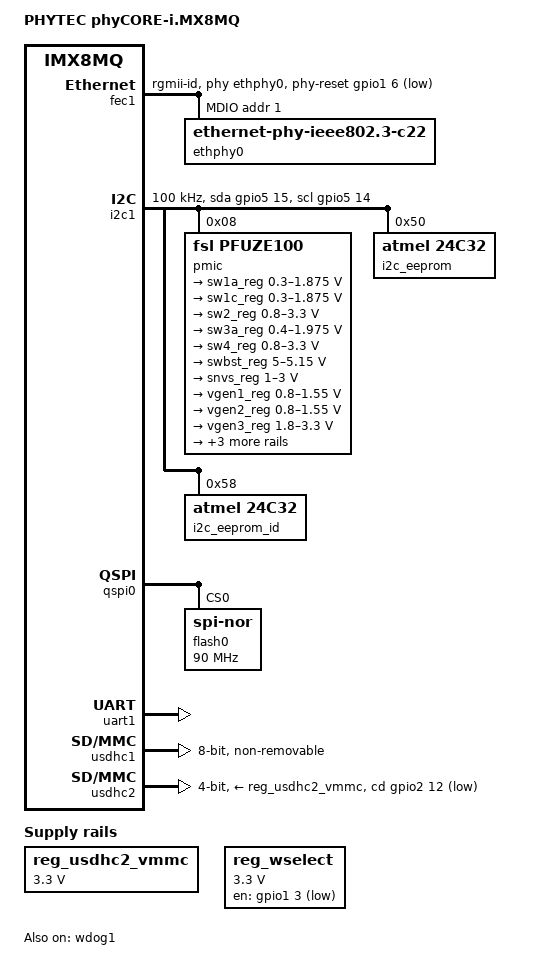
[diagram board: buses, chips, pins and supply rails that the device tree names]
// SPDX-License-Identifier: GPL-2.0-or-later
/*
 * Copyright (C) 2018-2020 PHYTEC Messtechnik GmbH
 * Author: Janine Hagemann <j.hagemann@phytec.de>
 */

/dts-v1/;

#include <dt-bindings/net/ti-dp83867.h>
#include "imx8mq.dtsi"

/ {
	model = "PHYTEC phyCORE-i.MX8MQ";
	compatible = "phytec,phycore-imx8mq", "fsl,imx8mq";

	aliases {
		eeprom0 = &i2c_eeprom_id;
	};

	chosen {
		bootargs = "console=ttymxc0,115200";
		stdout-path = &uart1;
	};

	reg_usdhc2_vmmc: regulator-usdhc2 {
		compatible = "regulator-fixed";
		regulator-name = "VSD_3V3";
		regulator-min-microvolt = <3300000>;
		regulator-max-microvolt = <3300000>;
	};

	reg_wselect: w_select {
		compatible = "regulator-fixed";
		regulator-name = "w_select";
		regulator-min-microvolt = <3300000>;
		regulator-max-microvolt = <3300000>;
		pinctrl-names = "default";
		pinctrl-0  = <&pinctrl_regwselect>;
		gpio = <&gpio1 3 GPIO_ACTIVE_LOW>;
		regulator-always-on;
	};
};

/* ethernet */
&fec1 {
	pinctrl-names = "default";
	pinctrl-0 = <&pinctrl_fec1>;
	phy-mode = "rgmii-id";
	phy-handle = <&ethphy0>;
	phy-reset-gpios = <&gpio1 6 GPIO_ACTIVE_HIGH>;
	phy-reset-duration = <1>;
	phy-reset-post-delay = <1>;
	status = "okay";

	mdio {
		#address-cells = <1>;
		#size-cells = <0>;

		ethphy0: ethernet-phy@1 {
			compatible = "ethernet-phy-ieee802.3-c22";
			reg = <1>;
			ti,rx-internal-delay = <DP83867_RGMIIDCTL_2_00_NS>;
			ti,tx-internal-delay = <DP83867_RGMIIDCTL_2_00_NS>;
			ti,fifo-depth = <DP83867_PHYCR_FIFO_DEPTH_4_B_NIB>;
			ti,clk-output-sel = <DP83867_CLK_O_SEL_OFF>;
			enet-phy-lane-no-swap;
		};
	};
};

&i2c1 {
	clock-frequency = <100000>;
	pinctrl-names = "default", "gpio";
	pinctrl-0 = <&pinctrl_i2c1>;
	pinctrl-1 = <&pinctrl_i2c1_gpio>;
	scl-gpios = <&gpio5 14 GPIO_ACTIVE_HIGH>;
	sda-gpios = <&gpio5 15 GPIO_ACTIVE_HIGH>;
	status = "okay";

	pmic: pmic@08 {
		compatible = "fsl,pfuze100";
		fsl,pfuze-support-disable-sw;
		reg = <0x08>;

		regulators {
			sw1a_reg: sw1ab {
				regulator-min-microvolt = <300000>;
				regulator-max-microvolt = <1875000>;
				regulator-always-on;
			};

			sw1c_reg: sw1c {
				regulator-min-microvolt = <300000>;
				regulator-max-microvolt = <1875000>;
				regulator-always-on;
			};

			sw2_reg: sw2 {
				regulator-min-microvolt = <800000>;
				regulator-max-microvolt = <3300000>;
				regulator-always-on;
			};

			sw3a_reg: sw3ab {
				regulator-min-microvolt = <400000>;
				regulator-max-microvolt = <1975000>;
				regulator-always-on;
			};

			sw4_reg: sw4 {
				regulator-min-microvolt = <800000>;
				regulator-max-microvolt = <3300000>;
				regulator-always-on;
			};

			swbst_reg: swbst {
				regulator-min-microvolt = <5000000>;
				regulator-max-microvolt = <5150000>;
			};

			snvs_reg: vsnvs {
				regulator-min-microvolt = <1000000>;
				regulator-max-microvolt = <3000000>;
				regulator-always-on;
			};

			vref_reg: vrefddr {
				regulator-always-on;
			};

			vgen1_reg: vgen1 {
				regulator-min-microvolt = <800000>;
				regulator-max-microvolt = <1550000>;
			};

			vgen2_reg: vgen2 {
				regulator-min-microvolt = <800000>;
				regulator-max-microvolt = <1550000>;
				regulator-always-on;
			};

			vgen3_reg: vgen3 {
				regulator-min-microvolt = <1800000>;
				regulator-max-microvolt = <3300000>;
				regulator-always-on;
			};

			vgen4_reg: vgen4 {
				regulator-min-microvolt = <1800000>;
				regulator-max-microvolt = <3300000>;
				regulator-always-on;
			};

			vgen5_reg: vgen5 {
				regulator-min-microvolt = <1800000>;
				regulator-max-microvolt = <3300000>;
				regulator-always-on;
			};

			vgen6_reg: vgen6 {
				regulator-min-microvolt = <1800000>;
				regulator-max-microvolt = <3300000>;
			};
		};
	};

	/* M24C32-D */
	i2c_eeprom: eeprom@50 {
		compatible = "atmel,24c32";
		reg = <0x50>;
		u-boot,i2c-offset-len = <2>;
	};

	/* M24C32-D Identification page */
	i2c_eeprom_id: eeprom@58 {
		compatible = "atmel,24c32";
		reg = <0x58>;
		u-boot,i2c-offset-len = <2>;
	};
};

/* SPI nor flash */
&qspi0 {
	pinctrl-names = "default";
	pinctrl-0 = <&pinctrl_qspi>;
	status = "okay";

	flash0: norflash@0 {
		compatible = "jedec,spi-nor";
		reg = <0>;
		spi-max-frequency = <90000000>;
		spi-tx-bus-width = <4>;
		spi-rx-bus-width = <4>;
	};
};

/* debug console */
&uart1 {
	pinctrl-names = "default";
	pinctrl-0 = <&pinctrl_uart1>;
	assigned-clocks = <&clk IMX8MQ_CLK_UART1>;
	assigned-clock-parents = <&clk IMX8MQ_CLK_25M>;
	status = "okay";
};

/* emmc */
&usdhc1 {
	pinctrl-names = "default", "state_100mhz", "state_200mhz";
	pinctrl-0 = <&pinctrl_usdhc1>;
	pinctrl-1 = <&pinctrl_usdhc1_100mhz>;
	pinctrl-2 = <&pinctrl_usdhc1_200mhz>;
	bus-width = <8>;
	non-removable;
	status = "okay";
};

/* sd-card */
&usdhc2 {
	pinctrl-names = "default", "state_100mhz", "state_200mhz";
	pinctrl-0 = <&pinctrl_usdhc2>, <&pinctrl_usdhc2_gpio>;
	pinctrl-1 = <&pinctrl_usdhc2_100mhz>, <&pinctrl_usdhc2_gpio>;
	pinctrl-2 = <&pinctrl_usdhc2_200mhz>, <&pinctrl_usdhc2_gpio>;
	bus-width = <4>;
	cd-gpios = <&gpio2 12 GPIO_ACTIVE_LOW>;
	vmmc-supply = <&reg_usdhc2_vmmc>;
	status = "okay";
};

&wdog1 {
	pinctrl-names = "default";
	pinctrl-0 = <&pinctrl_wdog>;
	fsl,ext-reset-output;
	status = "okay";
};

&iomuxc {
	pinctrl-names = "default";

	pinctrl_fec1: fec1grp {
		fsl,pins = <
			MX8MQ_IOMUXC_ENET_MDC_ENET1_MDC			0x3
			MX8MQ_IOMUXC_ENET_MDIO_ENET1_MDIO		0x23
			MX8MQ_IOMUXC_ENET_TD3_ENET1_RGMII_TD3		0x1f
			MX8MQ_IOMUXC_ENET_TD2_ENET1_RGMII_TD2		0x1f
			MX8MQ_IOMUXC_ENET_TD1_ENET1_RGMII_TD1		0x1f
			MX8MQ_IOMUXC_ENET_TD0_ENET1_RGMII_TD0		0x1f
			MX8MQ_IOMUXC_ENET_RD3_ENET1_RGMII_RD3		0x90
			MX8MQ_IOMUXC_ENET_RD2_ENET1_RGMII_RD2		0x90
			MX8MQ_IOMUXC_ENET_RD1_ENET1_RGMII_RD1		0x90
			MX8MQ_IOMUXC_ENET_RD0_ENET1_RGMII_RD0		0x90
			MX8MQ_IOMUXC_ENET_TXC_ENET1_RGMII_TXC		0x1f
			MX8MQ_IOMUXC_ENET_RXC_ENET1_RGMII_RXC		0x90
			MX8MQ_IOMUXC_ENET_RX_CTL_ENET1_RGMII_RX_CTL	0x90
			MX8MQ_IOMUXC_ENET_TX_CTL_ENET1_RGMII_TX_CTL	0x1f
			MX8MQ_IOMUXC_GPIO1_IO06_GPIO1_IO6		0x19
		>;
	};

	pinctrl_i2c1: i2c1grp {
		fsl,pins = <
			MX8MQ_IOMUXC_I2C1_SCL_I2C1_SCL			0x4000007f
			MX8MQ_IOMUXC_I2C1_SDA_I2C1_SDA			0x4000007f
		>;
	};

	pinctrl_i2c1_gpio: i2c1grp-gpio {
		fsl,pins = <
			MX8MQ_IOMUXC_I2C1_SCL_GPIO5_IO14		0x7f
			MX8MQ_IOMUXC_I2C1_SDA_GPIO5_IO15		0x7f
		>;
	};

	pinctrl_qspi: qspigrp {
		fsl,pins = <
			MX8MQ_IOMUXC_NAND_ALE_QSPI_A_SCLK		0x82
			MX8MQ_IOMUXC_NAND_CE0_B_QSPI_A_SS0_B		0x82
			MX8MQ_IOMUXC_NAND_DATA00_QSPI_A_DATA0		0x82
			MX8MQ_IOMUXC_NAND_DATA01_QSPI_A_DATA1		0x82
			MX8MQ_IOMUXC_NAND_DATA02_QSPI_A_DATA2		0x82
			MX8MQ_IOMUXC_NAND_DATA03_QSPI_A_DATA3		0x82
		>;
	};

	pinctrl_uart1: uart1grp {
		fsl,pins = <
			MX8MQ_IOMUXC_UART1_RXD_UART1_DCE_RX		0x79
			MX8MQ_IOMUXC_UART1_TXD_UART1_DCE_TX		0x79
		>;
	};

	pinctrl_usdhc1: usdhc1grp {
		fsl,pins = <
			MX8MQ_IOMUXC_SD1_CLK_USDHC1_CLK			0x83
			MX8MQ_IOMUXC_SD1_CMD_USDHC1_CMD			0xc3
			MX8MQ_IOMUXC_SD1_DATA0_USDHC1_DATA0		0xc3
			MX8MQ_IOMUXC_SD1_DATA1_USDHC1_DATA1		0xc3
			MX8MQ_IOMUXC_SD1_DATA2_USDHC1_DATA2		0xc3
			MX8MQ_IOMUXC_SD1_DATA3_USDHC1_DATA3		0xc3
			MX8MQ_IOMUXC_SD1_DATA4_USDHC1_DATA4		0xc3
			MX8MQ_IOMUXC_SD1_DATA5_USDHC1_DATA5		0xc3
			MX8MQ_IOMUXC_SD1_DATA6_USDHC1_DATA6		0xc3
			MX8MQ_IOMUXC_SD1_DATA7_USDHC1_DATA7		0xc3
			MX8MQ_IOMUXC_SD1_STROBE_USDHC1_STROBE		0x83
			MX8MQ_IOMUXC_SD1_RESET_B_USDHC1_RESET_B		0xc1
		>;
	};

	pinctrl_usdhc1_100mhz: usdhc1grp100mhz {
		fsl,pins = <
			MX8MQ_IOMUXC_SD1_CLK_USDHC1_CLK			0x85
			MX8MQ_IOMUXC_SD1_CMD_USDHC1_CMD			0xc5
			MX8MQ_IOMUXC_SD1_DATA0_USDHC1_DATA0		0xc5
			MX8MQ_IOMUXC_SD1_DATA1_USDHC1_DATA1		0xc5
			MX8MQ_IOMUXC_SD1_DATA2_USDHC1_DATA2		0xc5
			MX8MQ_IOMUXC_SD1_DATA3_USDHC1_DATA3		0xc5
			MX8MQ_IOMUXC_SD1_DATA4_USDHC1_DATA4		0xc5
			MX8MQ_IOMUXC_SD1_DATA5_USDHC1_DATA5		0xc5
			MX8MQ_IOMUXC_SD1_DATA6_USDHC1_DATA6		0xc5
			MX8MQ_IOMUXC_SD1_DATA7_USDHC1_DATA7		0xc5
			MX8MQ_IOMUXC_SD1_STROBE_USDHC1_STROBE		0x85
			MX8MQ_IOMUXC_SD1_RESET_B_USDHC1_RESET_B		0xc1
		>;
	};

	pinctrl_usdhc1_200mhz: usdhc1grp200mhz {
		fsl,pins = <
			MX8MQ_IOMUXC_SD1_CLK_USDHC1_CLK			0x87
			MX8MQ_IOMUXC_SD1_CMD_USDHC1_CMD			0xc7
			MX8MQ_IOMUXC_SD1_DATA0_USDHC1_DATA0		0xc7
			MX8MQ_IOMUXC_SD1_DATA1_USDHC1_DATA1		0xc7
			MX8MQ_IOMUXC_SD1_DATA2_USDHC1_DATA2		0xc7
			MX8MQ_IOMUXC_SD1_DATA3_USDHC1_DATA3		0xc7
			MX8MQ_IOMUXC_SD1_DATA4_USDHC1_DATA4		0xc7
			MX8MQ_IOMUXC_SD1_DATA5_USDHC1_DATA5		0xc7
			MX8MQ_IOMUXC_SD1_DATA6_USDHC1_DATA6		0xc7
			MX8MQ_IOMUXC_SD1_DATA7_USDHC1_DATA7		0xc7
			MX8MQ_IOMUXC_SD1_STROBE_USDHC1_STROBE		0x87
			MX8MQ_IOMUXC_SD1_RESET_B_USDHC1_RESET_B		0xc1
		>;
	};

	pinctrl_usdhc2_gpio: usdhc2grpgpio {
		fsl,pins = <
			MX8MQ_IOMUXC_SD2_CD_B_GPIO2_IO12	0x41
		>;
	};

	pinctrl_usdhc2: usdhc2grp {
		fsl,pins = <
			MX8MQ_IOMUXC_SD2_CLK_USDHC2_CLK			0x83
			MX8MQ_IOMUXC_SD2_CMD_USDHC2_CMD			0xc3
			MX8MQ_IOMUXC_SD2_DATA0_USDHC2_DATA0		0xc3
			MX8MQ_IOMUXC_SD2_DATA1_USDHC2_DATA1		0xc3
			MX8MQ_IOMUXC_SD2_DATA2_USDHC2_DATA2		0xc3
			MX8MQ_IOMUXC_SD2_DATA3_USDHC2_DATA3		0xc3
			MX8MQ_IOMUXC_GPIO1_IO04_USDHC2_VSELECT		0xc1
		>;
	};

	pinctrl_usdhc2_100mhz: usdhc2grp100mhz {
		fsl,pins = <
			MX8MQ_IOMUXC_SD2_CLK_USDHC2_CLK			0x8d
			MX8MQ_IOMUXC_SD2_CMD_USDHC2_CMD			0xcf
			MX8MQ_IOMUXC_SD2_DATA0_USDHC2_DATA0		0xcf
			MX8MQ_IOMUXC_SD2_DATA1_USDHC2_DATA1		0xcf
			MX8MQ_IOMUXC_SD2_DATA2_USDHC2_DATA2		0xcf
			MX8MQ_IOMUXC_SD2_DATA3_USDHC2_DATA3		0xcf
			MX8MQ_IOMUXC_GPIO1_IO04_USDHC2_VSELECT		0xc1
		>;
	};

	pinctrl_usdhc2_200mhz: usdhc2grp200mhz {
		fsl,pins = <
			MX8MQ_IOMUXC_SD2_CLK_USDHC2_CLK			0x9f
			MX8MQ_IOMUXC_SD2_CMD_USDHC2_CMD			0xdf
			MX8MQ_IOMUXC_SD2_DATA0_USDHC2_DATA0		0xdf
			MX8MQ_IOMUXC_SD2_DATA1_USDHC2_DATA1		0xdf
			MX8MQ_IOMUXC_SD2_DATA2_USDHC2_DATA2		0xdf
			MX8MQ_IOMUXC_SD2_DATA3_USDHC2_DATA3		0xdf
			MX8MQ_IOMUXC_GPIO1_IO04_USDHC2_VSELECT		0xc1
		>;
	};

	pinctrl_regwselect: regwselectgrp {
		fsl,pins = <
			MX8MQ_IOMUXC_GPIO1_IO03_GPIO1_IO3		0x41
		>;
	};
	pinctrl_wdog: wdoggrp {
		fsl,pins = <
			MX8MQ_IOMUXC_GPIO1_IO02_WDOG1_WDOG_B		0xc6
		>;
	};
};
